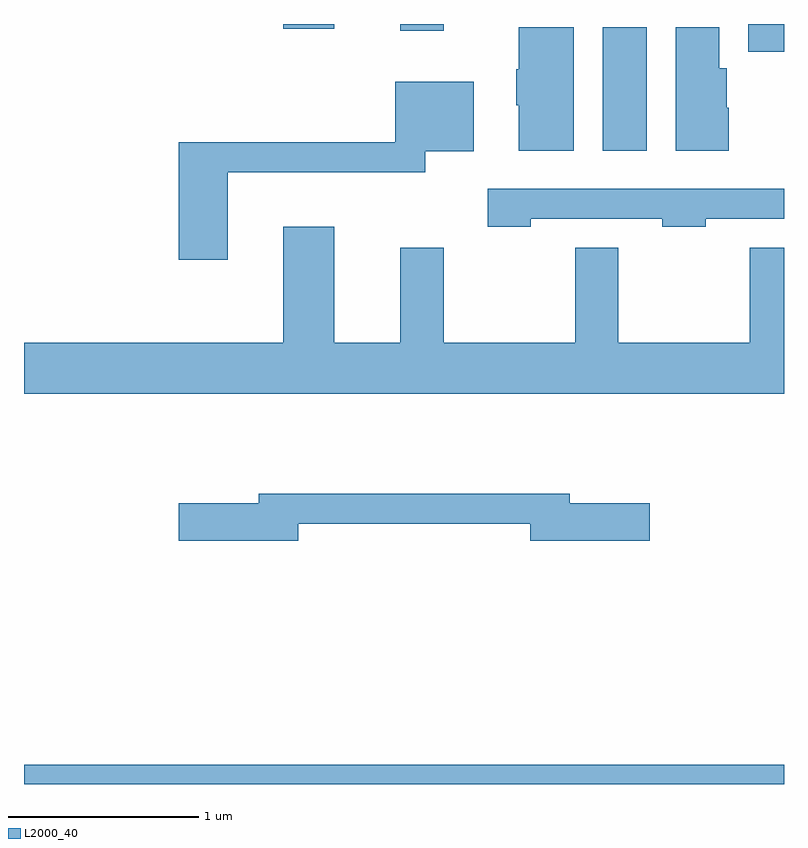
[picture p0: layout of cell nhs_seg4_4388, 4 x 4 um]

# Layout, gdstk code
import gdstk
lib = gdstk.Library(unit=1e-6, precision=1e-09)
def R(c, l, rs):  # rectangles x0, y0, x1, y1
    for r in rs: c.add(gdstk.rectangle(r[:2], r[2:], *l))
def P(c, l, *ps):  # polygons
    for p in ps: c.add(gdstk.Polygon(p, *l))
L2000_40 = (2000, 40)

nhs_seg4_4388 = lib.new_cell('nhs_seg4_4388')
R(nhs_seg4_4388, L2000_40, [(313.611,1325.982,317.611,1326.084), (316.656,1329.316,316.889,1329.964), (317.423,1329.836,317.611,1329.982), (315.591,1329.946,315.819,1329.982), (314.976,1329.956,315.244,1329.982)])
P(nhs_seg4_4388, L2000_40, [(317.319,1329.54),(317.309,1329.54),(317.309,1329.749),(317.269,1329.749),(317.269,1329.964),(317.041,1329.964),(317.041,1329.316),(317.319,1329.316)],
  [(316.504,1329.964),(316.216,1329.964),(316.216,1329.745),(316.201,1329.745),(316.201,1329.555),(316.216,1329.555),(316.216,1329.316),(316.504,1329.316)],
  [(314.684,1329.201),(315.724,1329.201),(315.724,1329.311),(315.979,1329.311),(315.979,1329.679),(315.566,1329.679),(315.566,1329.359),(314.426,1329.359),(314.426,1328.741),(314.684,1328.741)],
  [(316.279,1328.956),(316.971,1328.956),(316.971,1328.916),(317.199,1328.916),(317.199,1328.956),(317.611,1328.956),(317.611,1329.114),(316.051,1329.114),(316.051,1328.916),(316.279,1328.916)],
  [(317.611,1328.804),(317.431,1328.804),(317.431,1328.304),(316.739,1328.304),(316.739,1328.804),(316.511,1328.804),(316.511,1328.304),(315.819,1328.304),(315.819,1328.804),(315.591,1328.804),(315.591,1328.304),(315.244,1328.304),(315.244,1328.914),(314.976,1328.914),(314.976,1328.304),(313.611,1328.304),(313.611,1328.036),(317.611,1328.036)],
  [(315.054,1327.351),(316.276,1327.351),(316.276,1327.261),(316.904,1327.261),(316.904,1327.459),(316.484,1327.459),(316.484,1327.509),(314.846,1327.509),(314.846,1327.459),(314.426,1327.459),(314.426,1327.261),(315.054,1327.261)])

lib.write_gds('nhs_seg4_4388.gds')
